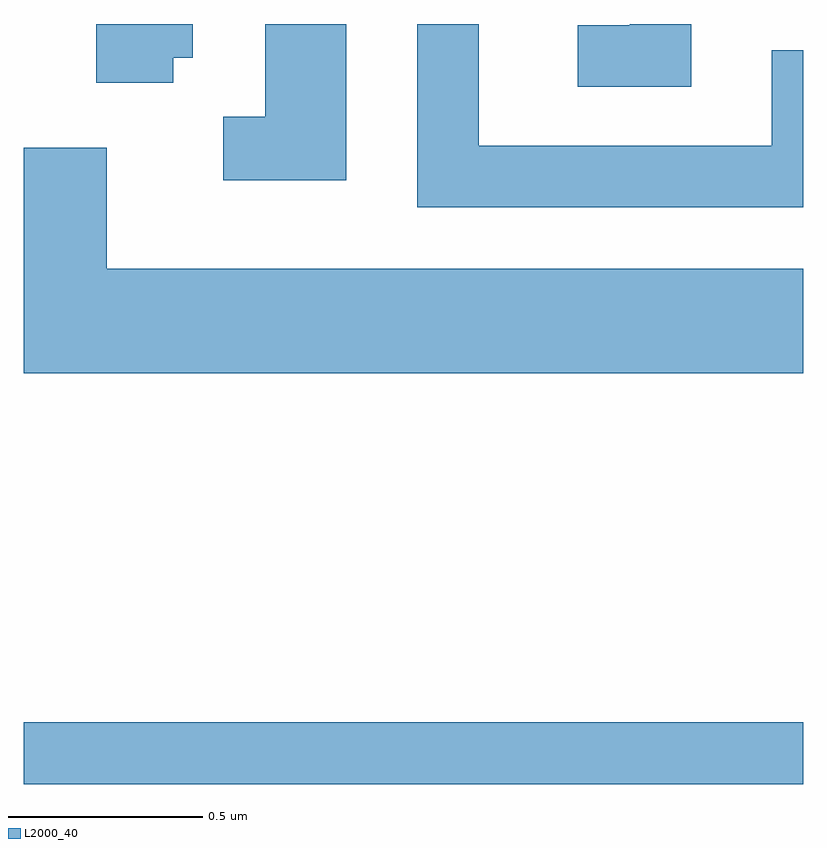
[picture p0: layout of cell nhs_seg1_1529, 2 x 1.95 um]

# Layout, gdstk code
import gdstk
lib = gdstk.Library(unit=1e-6, precision=1e-09)
def R(c, l, rs):  # rectangles x0, y0, x1, y1
    for r in rs: c.add(gdstk.rectangle(r[:2], r[2:], *l))
def P(c, l, *ps):  # polygons
    for p in ps: c.add(gdstk.Polygon(p, *l))
L2000_40 = (2000, 40)

nhs_seg1_1529 = lib.new_cell('nhs_seg1_1529')
R(nhs_seg1_1529, L2000_40, [(196.611,880.761,198.611,880.919)])
P(nhs_seg1_1529, L2000_40, [(198.324,882.712),(198.166,882.712),(198.166,882.709),(198.033,882.709),(198.033,882.551),(198.324,882.551)],
  [(198.611,882.644),(198.531,882.644),(198.531,882.399),(197.779,882.399),(197.779,882.712),(197.621,882.712),(197.621,882.241),(198.611,882.241)],
  [(196.994,882.626),(197.044,882.626),(197.044,882.712),(196.796,882.712),(196.796,882.561),(196.994,882.561)],
  [(197.439,882.712),(197.231,882.712),(197.231,882.474),(197.123,882.474),(197.123,882.311),(197.439,882.311)],
  [(198.611,882.084),(196.824,882.084),(196.824,882.394),(196.611,882.394),(196.611,881.816),(198.611,881.816)])

lib.write_gds('nhs_seg1_1529.gds')
